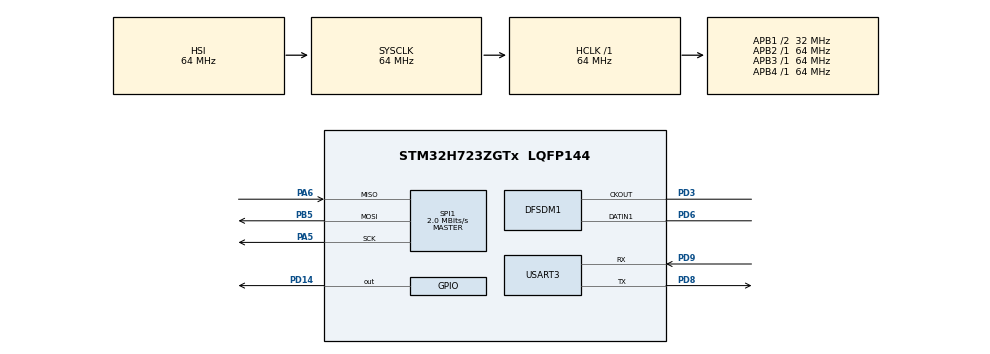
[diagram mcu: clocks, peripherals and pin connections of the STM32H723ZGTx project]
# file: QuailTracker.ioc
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CORTEX_M7.default_mode_Activation=1
DFSDM1.Divider=20
DFSDM1.DmaMode_reg_FIL0=ENABLE
DFSDM1.FastMode_reg_FIL0=ENABLE
DFSDM1.Filter_regChannel_FIL0=DFSDM_CHANNEL_1
DFSDM1.Fosr_FIL0=64
DFSDM1.RightBitShift_CH1=2
DFSDM1.SincOrder_FIL0=DFSDM_FILTER_SINC3_ORDER
Dma.DFSDM1_FLT0.0.Direction=DMA_PERIPH_TO_MEMORY
Dma.DFSDM1_FLT0.0.EventEnable=DISABLE
Dma.DFSDM1_FLT0.0.FIFOMode=DMA_FIFOMODE_DISABLE
Dma.DFSDM1_FLT0.0.Instance=DMA1_Stream0
Dma.DFSDM1_FLT0.0.MemDataAlignment=DMA_MDATAALIGN_WORD
Dma.DFSDM1_FLT0.0.MemInc=DMA_MINC_ENABLE
Dma.DFSDM1_FLT0.0.Mode=DMA_CIRCULAR
Dma.DFSDM1_FLT0.0.PeriphDataAlignment=DMA_PDATAALIGN_WORD
Dma.DFSDM1_FLT0.0.PeriphInc=DMA_PINC_DISABLE
Dma.DFSDM1_FLT0.0.Polarity=HAL_DMAMUX_REQ_GEN_RISING
Dma.DFSDM1_FLT0.0.Priority=DMA_PRIORITY_HIGH
Dma.DFSDM1_FLT0.0.RequestNumber=1
Dma.DFSDM1_FLT0.0.SignalID=NONE
Dma.DFSDM1_FLT0.0.SyncEnable=DISABLE
Dma.DFSDM1_FLT0.0.SyncPolarity=HAL_DMAMUX_SYNC_NO_EVENT
Dma.DFSDM1_FLT0.0.SyncRequestNumber=1
Dma.DFSDM1_FLT0.0.SyncSignalID=NONE
Dma.Request0=DFSDM1_FLT0
FATFS._FS_NOFSINFO=0
FATFS._MAX_SS=512
FATFS._USE_LFN=1
Mcu.Family=STM32H7
Mcu.Name=STM32H723ZGTx
Mcu.Package=LQFP144
NVIC.DMA1_Stream0_IRQn=true\:0\:0\:false\:false\:true\:false\:true\:true
NVIC.PriorityGroup=NVIC_PRIORITYGROUP_4
PA5.Mode=Full_Duplex_Master
PA5.Signal=SPI1_SCK
PA6.Mode=Full_Duplex_Master
PA6.Signal=SPI1_MISO
PB5.Mode=Full_Duplex_Master
PB5.Signal=SPI1_MOSI
PD14.PinState=GPIO_PIN_SET
PD14.Signal=GPIO_Output
PD3.Signal=S_CKOUTDFSDM1
PD6.Signal=S_DATAIN1DFSDM1
PD8.Mode=Asynchronous
PD8.Signal=USART3_TX
PD9.Mode=Asynchronous
PD9.Signal=USART3_RX
ProjectManager.HeapSize=0x200
ProjectManager.StackSize=0x400
ProjectManager.TargetToolchain=STM32CubeIDE
RCC.ADCFreq_Value=129000000
RCC.APB1Freq_Value=32000000
RCC.APB2Freq_Value=64000000
RCC.APB3Freq_Value=64000000
RCC.APB4Freq_Value=64000000
RCC.CortexFreq_Value=64000000
RCC.D2PPRE1=RCC_APB1_DIV2
RCC.DIVM1=4
RCC.DIVN1=12
RCC.DIVQ1=3
RCC.HCLKFreq_Value=64000000
RCC.PLLFRACN=0
RCC.SYSCLKFreq_VALUE=64000000
RCC.USBFreq_Value=64000000
SH.S_CKOUTDFSDM1.0=DFSDM1_CKOUT,CKOUT
SH.S_CKOUTDFSDM1.1=DFSDM1_CKOUT,PDM_SPI_input_from_ch1_and_internal_clock
SH.S_DATAIN1DFSDM1.0=DFSDM1_DATIN1,PDM_SPI_input_from_ch1_and_internal_clock
SPI1.BaudRatePrescaler=SPI_BAUDRATEPRESCALER_32
SPI1.CalculateBaudRate=2.0 MBits/s
SPI1.DataSize=SPI_DATASIZE_8BIT
SPI1.Direction=SPI_DIRECTION_2LINES
SPI1.Mode=SPI_MODE_MASTER
SPI1.VirtualType=VM_MASTER
USART3.VirtualMode-Asynchronous=VM_ASYNC
VP_FATFS_VS_Generic.Mode=User_defined
VP_MEMORYMAP_VS_MEMORYMAP.Mode=CurAppReg
board=custom

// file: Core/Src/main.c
/* USER CODE BEGIN Header */
/**
  ******************************************************************************
  * @file           : main.c
  * @brief          : Main program body
  ******************************************************************************
  * @attention
  *
  * Copyright (c) 2026 STMicroelectronics.
  * All rights reserved.
  *
  * This software is licensed under terms that can be found in the LICENSE file
  * in the root directory of this software component.
  * If no LICENSE file comes with this software, it is provided AS-IS.
  *
  ******************************************************************************
  */
/* USER CODE END Header */
#include "main.h"
#include "fatfs.h"

/* USER CODE BEGIN Includes */
#include <string.h>
#include <stdio.h>
/* USER CODE END Includes */

DFSDM_Filter_HandleTypeDef hdfsdm1_filter0;
DFSDM_Channel_HandleTypeDef hdfsdm1_channel1;
DMA_HandleTypeDef hdma_dfsdm1_flt0;

SPI_HandleTypeDef hspi1;

UART_HandleTypeDef huart3;

/* USER CODE BEGIN PV */
#define AUDIO_BUF_SIZE 1024
#define SAMPLE_RATE    50000

__attribute__((section(".RAM_D2"))) int32_t audioBuffer[AUDIO_BUF_SIZE];
volatile uint8_t halfComplete = 0;
volatile uint8_t fullComplete = 0;

/* Conversion buffer: 512 DFSDM samples -> 512 int16 samples = 1024 bytes */
int16_t pcmBuffer[AUDIO_BUF_SIZE / 2];

/* Recording state */
static FIL wavFile;
static uint8_t isRecording = 0;
static uint8_t sdMounted = 0;
static uint32_t totalDataBytes = 0;
static uint32_t fileCounter = 0;
/* USER CODE END PV */

void SystemClock_Config(void);
static void MPU_Config(void);
static void MX_GPIO_Init(void);
static void MX_DMA_Init(void);
static void MX_USART3_UART_Init(void);
static void MX_DFSDM1_Init(void);
static void MX_SPI1_Init(void);

/* USER CODE BEGIN 0 */
/* Direct UART TX — bypasses HAL state machine entirely */
int _write(int file, char *ptr, int len)
{
    for (int i = 0; i < len; i++) {
        while (!(USART3->ISR & USART_ISR_TXE_TXFNF));
        USART3->TDR = (uint8_t)ptr[i];
    }
    return len;
}

/* Direct UART RX — non-blocking, clears errors */
static int getChar(void)
{
    /* Clear any error flags */
    USART3->ICR = USART_ICR_ORECF | USART_ICR_FECF | USART_ICR_NECF | USART_ICR_PECF;
    /* Check if data available */
    if (USART3->ISR & USART_ISR_RXNE_RXFNE) {
        return (int)(USART3->RDR & 0xFF);
    }
    return -1;
}

static void WAV_WriteHeader(FIL *fp, uint32_t sampleRate, uint32_t dataSize)
{
    uint8_t hdr[44];
    uint32_t fileSize = dataSize + 36;
    uint16_t channels = 1;
    uint16_t bitsPerSample = 16;
    uint32_t byteRate = sampleRate * channels * bitsPerSample / 8;
    uint16_t blockAlign = channels * bitsPerSample / 8;

    memcpy(&hdr[0], "RIFF", 4);
    memcpy(&hdr[4], &fileSize, 4);
    memcpy(&hdr[8], "WAVE", 4);

    memcpy(&hdr[12], "fmt ", 4);
    uint32_t fmtSize = 16;
    memcpy(&hdr[16], &fmtSize, 4);
    uint16_t audioFmt = 1; /* PCM */
    memcpy(&hdr[20], &audioFmt, 2);
    memcpy(&hdr[22], &channels, 2);
    memcpy(&hdr[24], &sampleRate, 4);
    memcpy(&hdr[28], &byteRate, 4);
    memcpy(&hdr[32], &blockAlign, 2);
    memcpy(&hdr[34], &bitsPerSample, 2);

    memcpy(&hdr[36], "data", 4);
    memcpy(&hdr[40], &dataSize, 4);

    UINT bw;
    f_write(fp, hdr, 44, &bw);
}

static void printMenu(void)
{
    printf("\r\n===== MENU =====\r\n");
    printf("1. Status\r\n");
    printf("2. Start Recording\r\n");
    printf("3. Stop Recording\r\n");
    printf("4. SD Card Info\r\n");
    printf("5. Format SD Card\r\n");
    printf("6. Eject SD Card\r\n");
    printf("7. Mount SD Card\r\n");
    printf("R. Toggle Recording\r\n");
    printf("================\r\n");
    printf("[%s] > ", isRecording ? "REC" : "IDLE");
}

static void printStatus(void)
{
    printf("\r\n========== STATUS ==========\r\n");

    printf("Audio:\r\n");
    printf("  DFSDM: Running (Sinc3, FOSR=64)\r\n");
    printf("  Sample Rate: %lu Hz\r\n", (unsigned long)SAMPLE_RATE);
    printf("  DMA Buffer: %d x 32-bit\r\n", AUDIO_BUF_SIZE);

    printf("Recording:\r\n");
    printf("  Active: %s\r\n", isRecording ? "Yes" : "No");
    if (isRecording) {
        uint32_t seconds = totalDataBytes / (SAMPLE_RATE * 2);
        printf("  Duration: %lus\r\n", (unsigned long)seconds);
        printf("  Size: %lu bytes\r\n", (unsigned long)totalDataBytes);
    }

    printf("SD Card:\r\n");
    printf("  Mounted: %s\r\n", sdMounted ? "Yes" : "No");
    if (sdMounted) {
        FATFS *fs;
        DWORD fre_clust;
        if (f_getfree("", &fre_clust, &fs) == FR_OK) {
            DWORD tot_sect = (fs->n_fatent - 2) * fs->csize;
            DWORD fre_sect = fre_clust * fs->csize;
            printf("  Total: %lu KB\r\n", (unsigned long)(tot_sect / 2));
            printf("  Free:  %lu KB\r\n", (unsigned long)(fre_sect / 2));
        }
    }

    printf("============================\r\n");
}

static void startRecording(void)
{
    if (!sdMounted) {
        printf("SD card not mounted!\r\n");
        return;
    }
    if (isRecording) {
        printf("Already recording!\r\n");
        return;
    }

    /* Generate filename: rec_000.wav, rec_001.wav, ... */
    char fname[20];
    snprintf(fname, sizeof(fname), "rec_%03lu.wav", (unsigned long)fileCounter);

    FRESULT fres = f_open(&wavFile, fname, FA_WRITE | FA_CREATE_ALWAYS);
    if (fres != FR_OK) {
        printf("f_open FAILED: %d\r\n", fres);
        return;
    }

    /* Write placeholder header (will be rewritten on stop) */
    WAV_WriteHeader(&wavFile, SAMPLE_RATE, 0);
    f_sync(&wavFile);

    totalDataBytes = 0;
    isRecording = 1;
    fileCounter++;

    printf("Recording to %s...\r\n", fname);
}

static void stopRecording(void)
{
    if (!isRecording) {
        printf("Not recording!\r\n");
        return;
    }

    isRecording = 0;

    /* Rewrite WAV header with actual data size */
    f_lseek(&wavFile, 0);
    WAV_WriteHeader(&wavFile, SAMPLE_RATE, totalDataBytes);
    f_close(&wavFile);

    uint32_t seconds = totalDataBytes / (SAMPLE_RATE * 2);
    printf("Recording stopped: %lu bytes (%lus)\r\n",
        (unsigned long)totalDataBytes, (unsigned long)seconds);
}

static int formatSD(void)
{
    extern FATFS USERFatFS;
    extern char USERPath[];

    printf("Formatting SD card (FAT32)...\r\n");

    /* Unmount first if mounted */
    if (sdMounted) {
        f_mount(NULL, USERPath, 0);
        sdMounted = 0;
    }

    /* Mount with no forced check (needed for f_mkfs) */
    FRESULT fres = f_mount(&USERFatFS, USERPath, 0);
    if (fres != FR_OK) {
        printf("f_mount failed: %d\r\n", fres);
        return 0;
    }

    /* Format as FAT32, default allocation unit */
    static uint8_t workBuf[512];
    fres = f_mkfs(USERPath, FM_FAT32, 0, workBuf, sizeof(workBuf));
    if (fres != FR_OK) {
        printf("f_mkfs failed: %d\r\n", fres);
        f_mount(NULL, USERPath, 0);
        return 0;
    }

    /* Remount to verify */
    f_mount(NULL, USERPath, 0);
    fres = f_mount(&USERFatFS, USERPath, 1);
    if (fres != FR_OK) {
        printf("Mount after format failed: %d\r\n", fres);
        return 0;
    }

    sdMounted = 1;
    printf("Format complete, SD card ready\r\n");
    return 1;
}
/* USER CODE END 0 */

int main(void)
{

  /* MPU Configuration--------------------------------------------------------*/
  MPU_Config();

  /* MCU Configuration--------------------------------------------------------*/

  /* Reset of all peripherals, Initializes the Flash interface and the Systick. */
  HAL_Init();

  /* Configure the system clock */
  SystemClock_Config();

  /* Initialize all configured peripherals */
  MX_GPIO_Init();
  MX_DMA_Init();
  MX_USART3_UART_Init();
  MX_DFSDM1_Init();
  MX_SPI1_Init();
  MX_FATFS_Init();
  /* USER CODE BEGIN 2 */
  setvbuf(stdout, NULL, _IONBF, 0); /* Disable stdout buffering — printf goes straight to UART */
  HAL_Delay(3000);

  printf("\r\n\r\n");
  printf("================================================\r\n");
  printf("  QuailTracker STM32 - PDM Audio Prototype\r\n");
  printf("  Nucleo-H723ZG + IM72D128 + SD Card\r\n");
  printf("================================================\r\n");

  /* Start DFSDM DMA */
  printf("DFSDM: ");
  if (HAL_DFSDM_FilterRegularStart_DMA(&hdfsdm1_filter0, audioBuffer, AUDIO_BUF_SIZE) != HAL_OK) {
      printf("FAILED\r\n");
  } else {
      printf("OK (50kHz, Sinc3)\r\n");
  }

  /* Mount SD card — auto-format if unrecognized */
  extern FATFS USERFatFS;
  extern char USERPath[];
  printf("SD Card: ");
  if (f_mount(&USERFatFS, USERPath, 1) == FR_OK) {
      sdMounted = 1;
      printf("Mounted\r\n");
  } else {
      printf("Not readable, formatting...\r\n");
      if (formatSD()) {
          printf("SD Card: Ready\r\n");
      } else {
          printf("SD Card: No card detected\r\n");
      }
  }

  printMenu();
  /* USER CODE END 2 */

  /* Infinite loop */
  while (1)
  {

    /* USER CODE BEGIN 3 */

    /* Process serial commands */
    int c = getChar();
    if (c >= 0) {
        switch (c) {
        case '1':
            printStatus();
            printMenu();
            break;

        case '2':
            startRecording();
            printMenu();
            break;

        case '3':
            stopRecording();
            printMenu();
            break;

        case '4':
            if (sdMounted) {
                FATFS *fs;
                DWORD fre_clust;
                printf("\r\n=== SD Card Info ===\r\n");
                if (f_getfree("", &fre_clust, &fs) == FR_OK) {
                    DWORD tot_sect = (fs->n_fatent - 2) * fs->csize;
                    DWORD fre_sect = fre_clust * fs->csize;
                    printf("Total: %lu KB\r\n", (unsigned long)(tot_sect / 2));
                    printf("Free:  %lu KB\r\n", (unsigned long)(fre_sect / 2));
                }
            } else {
                printf("SD card not mounted!\r\n");
            }
            printMenu();
            break;

        case '5':
            if (isRecording) {
                printf("Stop recording first!\r\n");
            } else {
                printf("Format SD card? ALL DATA WILL BE ERASED. (y/n) > ");
                /* Wait for confirmation */
                int confirm = -1;
                while (confirm < 0) confirm = getChar();
                printf("%c\r\n", confirm);
                if (confirm == 'y' || confirm == 'Y') {
                    formatSD();
                } else {
                    printf("Cancelled\r\n");
                }
            }
            printMenu();
            break;

        case '6':
            if (isRecording) {
                printf("Stop recording first!\r\n");
            } else if (!sdMounted) {
                printf("Already ejected\r\n");
            } else {
                extern char USERPath[];
                f_mount(NULL, USERPath, 0);
                sdMounted = 0;
                printf("SD card ejected — safe to remove\r\n");
            }
            printMenu();
            break;

        case '7':
        {
            if (sdMounted) {
                printf("Already mounted\r\n");
            } else {
                extern FATFS USERFatFS;
                extern char USERPath[];
                printf("Mounting... ");
                if (f_mount(&USERFatFS, USERPath, 1) == FR_OK) {
                    sdMounted = 1;
                    printf("OK\r\n");
                } else {
                    printf("Not readable, formatting...\r\n");
                    if (formatSD()) {
                        printf("SD card ready\r\n");
                    } else {
                        printf("No card detected\r\n");
                    }
                }
            }
            printMenu();
            break;
        }

        case 'r':
        case 'R':
            if (isRecording) {
                stopRecording();
            } else {
                startRecording();
            }
            printMenu();
            break;

        case '\r':
        case '\n':
            break;
        }
    }

    /* Background recording: write DMA buffers to SD */
    if (isRecording) {
        int32_t *src = NULL;

        if (halfComplete) {
            halfComplete = 0;
            src = &audioBuffer[0];
        } else if (fullComplete) {
            fullComplete = 0;
            src = &audioBuffer[AUDIO_BUF_SIZE / 2];
        }

        if (src) {
            for (int i = 0; i < AUDIO_BUF_SIZE / 2; i++) {
                pcmBuffer[i] = (int16_t)(src[i] >> 4);
            }

            UINT bw;
            FRESULT fres = f_write(&wavFile, pcmBuffer, sizeof(pcmBuffer), &bw);
            if (fres != FR_OK) {
                printf("f_write FAILED: %d at %lu bytes\r\n", fres, (unsigned long)totalDataBytes);
                f_close(&wavFile);
                isRecording = 0;
            }
            totalDataBytes += bw;

            /* Sync every ~1 second */
            if ((totalDataBytes % (SAMPLE_RATE * 2)) < sizeof(pcmBuffer)) {
                f_sync(&wavFile);
            }
        }
    }
  }
  /* USER CODE END 3 */
}

void SystemClock_Config(void)
{
  RCC_OscInitTypeDef RCC_OscInitStruct = {0};
  RCC_ClkInitTypeDef RCC_ClkInitStruct = {0};

  /** Supply configuration update enable
  */
  HAL_PWREx_ConfigSupply(PWR_LDO_SUPPLY);

  /** Configure the main internal regulator output voltage
  */
  __HAL_PWR_VOLTAGESCALING_CONFIG(PWR_REGULATOR_VOLTAGE_SCALE3);

  while(!__HAL_PWR_GET_FLAG(PWR_FLAG_VOSRDY)) {}

  /** Initializes the RCC Oscillators according to the specified parameters
  * in the RCC_OscInitTypeDef structure.
  */
  RCC_OscInitStruct.OscillatorType = RCC_OSCILLATORTYPE_HSI;
  RCC_OscInitStruct.HSIState = RCC_HSI_DIV1;
  RCC_OscInitStruct.HSICalibrationValue = 64;
  RCC_OscInitStruct.PLL.PLLState = RCC_PLL_ON;
  RCC_OscInitStruct.PLL.PLLSource = RCC_PLLSOURCE_HSI;
  RCC_OscInitStruct.PLL.PLLM = 4;
  RCC_OscInitStruct.PLL.PLLN = 12;
  RCC_OscInitStruct.PLL.PLLP = 2;
  RCC_OscInitStruct.PLL.PLLQ = 3;
  RCC_OscInitStruct.PLL.PLLR = 2;
  RCC_OscInitStruct.PLL.PLLRGE = RCC_PLL1VCIRANGE_3;
  RCC_OscInitStruct.PLL.PLLVCOSEL = RCC_PLL1VCOWIDE;
  RCC_OscInitStruct.PLL.PLLFRACN = 0;
  if (HAL_RCC_OscConfig(&RCC_OscInitStruct) != HAL_OK)
  {
    Error_Handler();
  }

  /** Initializes the CPU, AHB and APB buses clocks
  */
  RCC_ClkInitStruct.ClockType = RCC_CLOCKTYPE_HCLK|RCC_CLOCKTYPE_SYSCLK
                              |RCC_CLOCKTYPE_PCLK1|RCC_CLOCKTYPE_PCLK2
                              |RCC_CLOCKTYPE_D3PCLK1|RCC_CLOCKTYPE_D1PCLK1;
  RCC_ClkInitStruct.SYSCLKSource = RCC_SYSCLKSOURCE_HSI;
  RCC_ClkInitStruct.SYSCLKDivider = RCC_SYSCLK_DIV1;
  RCC_ClkInitStruct.AHBCLKDivider = RCC_HCLK_DIV1;
  RCC_ClkInitStruct.APB3CLKDivider = RCC_APB3_DIV1;
  RCC_ClkInitStruct.APB1CLKDivider = RCC_APB1_DIV2;
  RCC_ClkInitStruct.APB2CLKDivider = RCC_APB2_DIV1;
  RCC_ClkInitStruct.APB4CLKDivider = RCC_APB4_DIV1;

  if (HAL_RCC_ClockConfig(&RCC_ClkInitStruct, FLASH_LATENCY_1) != HAL_OK)
  {
    Error_Handler();
  }
}

static void MX_DFSDM1_Init(void)
{

  hdfsdm1_filter0.Instance = DFSDM1_Filter0;
  hdfsdm1_filter0.Init.RegularParam.Trigger = DFSDM_FILTER_SW_TRIGGER;
  hdfsdm1_filter0.Init.RegularParam.FastMode = ENABLE;
  hdfsdm1_filter0.Init.RegularParam.DmaMode = ENABLE;
  hdfsdm1_filter0.Init.FilterParam.SincOrder = DFSDM_FILTER_SINC3_ORDER;
  hdfsdm1_filter0.Init.FilterParam.Oversampling = 64;
  hdfsdm1_filter0.Init.FilterParam.IntOversampling = 1;
  if (HAL_DFSDM_FilterInit(&hdfsdm1_filter0) != HAL_OK)
  {
    Error_Handler();
  }
  hdfsdm1_channel1.Instance = DFSDM1_Channel1;
  hdfsdm1_channel1.Init.OutputClock.Activation = ENABLE;
  hdfsdm1_channel1.Init.OutputClock.Selection = DFSDM_CHANNEL_OUTPUT_CLOCK_SYSTEM;
  hdfsdm1_channel1.Init.OutputClock.Divider = 20;
  hdfsdm1_channel1.Init.Input.Multiplexer = DFSDM_CHANNEL_EXTERNAL_INPUTS;
  hdfsdm1_channel1.Init.Input.DataPacking = DFSDM_CHANNEL_STANDARD_MODE;
  hdfsdm1_channel1.Init.Input.Pins = DFSDM_CHANNEL_SAME_CHANNEL_PINS;
  hdfsdm1_channel1.Init.SerialInterface.Type = DFSDM_CHANNEL_SPI_RISING;
  hdfsdm1_channel1.Init.SerialInterface.SpiClock = DFSDM_CHANNEL_SPI_CLOCK_INTERNAL;
  hdfsdm1_channel1.Init.Awd.FilterOrder = DFSDM_CHANNEL_FASTSINC_ORDER;
  hdfsdm1_channel1.Init.Awd.Oversampling = 1;
  hdfsdm1_channel1.Init.Offset = 0;
  hdfsdm1_channel1.Init.RightBitShift = 2;
  if (HAL_DFSDM_ChannelInit(&hdfsdm1_channel1) != HAL_OK)
  {
    Error_Handler();
  }
  if (HAL_DFSDM_FilterConfigRegChannel(&hdfsdm1_filter0, DFSDM_CHANNEL_1, DFSDM_CONTINUOUS_CONV_ON) != HAL_OK)
  {
    Error_Handler();
  }

}

static void MX_SPI1_Init(void)
{

  /* SPI1 parameter configuration*/
  hspi1.Instance = SPI1;
  hspi1.Init.Mode = SPI_MODE_MASTER;
  hspi1.Init.Direction = SPI_DIRECTION_2LINES;
  hspi1.Init.DataSize = SPI_DATASIZE_8BIT;
  hspi1.Init.CLKPolarity = SPI_POLARITY_LOW;
  hspi1.Init.CLKPhase = SPI_PHASE_1EDGE;
  hspi1.Init.NSS = SPI_NSS_SOFT;
  hspi1.Init.BaudRatePrescaler = SPI_BAUDRATEPRESCALER_32;
  hspi1.Init.FirstBit = SPI_FIRSTBIT_MSB;
  hspi1.Init.TIMode = SPI_TIMODE_DISABLE;
  hspi1.Init.CRCCalculation = SPI_CRCCALCULATION_DISABLE;
  hspi1.Init.CRCPolynomial = 0x0;
  hspi1.Init.NSSPMode = SPI_NSS_PULSE_ENABLE;
  hspi1.Init.NSSPolarity = SPI_NSS_POLARITY_LOW;
  hspi1.Init.FifoThreshold = SPI_FIFO_THRESHOLD_01DATA;
  hspi1.Init.TxCRCInitializationPattern = SPI_CRC_INITIALIZATION_ALL_ZERO_PATTERN;
  hspi1.Init.RxCRCInitializationPattern = SPI_CRC_INITIALIZATION_ALL_ZERO_PATTERN;
  hspi1.Init.MasterSSIdleness = SPI_MASTER_SS_IDLENESS_00CYCLE;
  hspi1.Init.MasterInterDataIdleness = SPI_MASTER_INTERDATA_IDLENESS_00CYCLE;
  hspi1.Init.MasterReceiverAutoSusp = SPI_MASTER_RX_AUTOSUSP_DISABLE;
  hspi1.Init.MasterKeepIOState = SPI_MASTER_KEEP_IO_STATE_DISABLE;
  hspi1.Init.IOSwap = SPI_IO_SWAP_DISABLE;
  if (HAL_SPI_Init(&hspi1) != HAL_OK)
  {
    Error_Handler();
  }

}

static void MX_USART3_UART_Init(void)
{

  huart3.Instance = USART3;
  huart3.Init.BaudRate = 115200;
  huart3.Init.WordLength = UART_WORDLENGTH_8B;
  huart3.Init.StopBits = UART_STOPBITS_1;
  huart3.Init.Parity = UART_PARITY_NONE;
  huart3.Init.Mode = UART_MODE_TX_RX;
  huart3.Init.HwFlowCtl = UART_HWCONTROL_NONE;
  huart3.Init.OverSampling = UART_OVERSAMPLING_16;
  huart3.Init.OneBitSampling = UART_ONE_BIT_SAMPLE_DISABLE;
  huart3.Init.ClockPrescaler = UART_PRESCALER_DIV1;
  huart3.AdvancedInit.AdvFeatureInit = UART_ADVFEATURE_NO_INIT;
  if (HAL_UART_Init(&huart3) != HAL_OK)
  {
    Error_Handler();
  }
  if (HAL_UARTEx_SetTxFifoThreshold(&huart3, UART_TXFIFO_THRESHOLD_1_8) != HAL_OK)
  {
    Error_Handler();
  }
  if (HAL_UARTEx_SetRxFifoThreshold(&huart3, UART_RXFIFO_THRESHOLD_1_8) != HAL_OK)
  {
    Error_Handler();
  }
  if (HAL_UARTEx_DisableFifoMode(&huart3) != HAL_OK)
  {
    Error_Handler();
  }

}

static void MX_DMA_Init(void)
{

  /* DMA controller clock enable */
  __HAL_RCC_DMA1_CLK_ENABLE();

  /* DMA interrupt init */
  /* DMA1_Stream0_IRQn interrupt configuration */
  HAL_NVIC_SetPriority(DMA1_Stream0_IRQn, 0, 0);
  HAL_NVIC_EnableIRQ(DMA1_Stream0_IRQn);

}

static void MX_GPIO_Init(void)
{
  GPIO_InitTypeDef GPIO_InitStruct = {0};

  /* GPIO Ports Clock Enable */
  __HAL_RCC_GPIOA_CLK_ENABLE();
  __HAL_RCC_GPIOD_CLK_ENABLE();
  __HAL_RCC_GPIOB_CLK_ENABLE();

  /*Configure GPIO pin Output Level */
  HAL_GPIO_WritePin(GPIOD, GPIO_PIN_14, GPIO_PIN_SET);

  /*Configure GPIO pin : PD14 */
  GPIO_InitStruct.Pin = GPIO_PIN_14;
  GPIO_InitStruct.Mode = GPIO_MODE_OUTPUT_PP;
  GPIO_InitStruct.Pull = GPIO_NOPULL;
  GPIO_InitStruct.Speed = GPIO_SPEED_FREQ_LOW;
  HAL_GPIO_Init(GPIOD, &GPIO_InitStruct);

}

/* USER CODE BEGIN 4 */
void HAL_DFSDM_FilterRegConvHalfCpltCallback(DFSDM_Filter_HandleTypeDef *hdfsdm_filter)
 {
     halfComplete = 1;
 }

 void HAL_DFSDM_FilterRegConvCpltCallback(DFSDM_Filter_HandleTypeDef *hdfsdm_filter)
 {
     fullComplete = 1;
 }
/* USER CODE END 4 */

 /* MPU Configuration */

void MPU_Config(void)
{
  MPU_Region_InitTypeDef MPU_InitStruct = {0};

  /* Disables the MPU */
  HAL_MPU_Disable();

  /** Initializes and configures the Region and the memory to be protected
  */
  MPU_InitStruct.Enable = MPU_REGION_ENABLE;
  MPU_InitStruct.Number = MPU_REGION_NUMBER0;
  MPU_InitStruct.BaseAddress = 0x0;
  MPU_InitStruct.Size = MPU_REGION_SIZE_4GB;
  MPU_InitStruct.SubRegionDisable = 0x87;
  MPU_InitStruct.TypeExtField = MPU_TEX_LEVEL0;
  MPU_InitStruct.AccessPermission = MPU_REGION_NO_ACCESS;
  MPU_InitStruct.DisableExec = MPU_INSTRUCTION_ACCESS_DISABLE;
  MPU_InitStruct.IsShareable = MPU_ACCESS_SHAREABLE;
  MPU_InitStruct.IsCacheable = MPU_ACCESS_NOT_CACHEABLE;
  MPU_InitStruct.IsBufferable = MPU_ACCESS_NOT_BUFFERABLE;

  HAL_MPU_ConfigRegion(&MPU_InitStruct);
  /* Enables the MPU */
  HAL_MPU_Enable(MPU_PRIVILEGED_DEFAULT);

}

void Error_Handler(void)
{
  /* USER CODE BEGIN Error_Handler_Debug */
  const char *msg = "\r\n!!! Error_Handler !!!\r\n";
  while (*msg) {
      while (!(USART3->ISR & USART_ISR_TXE_TXFNF));
      USART3->TDR = *msg++;
  }
  while (1) { }
  /* USER CODE END Error_Handler_Debug */
}
